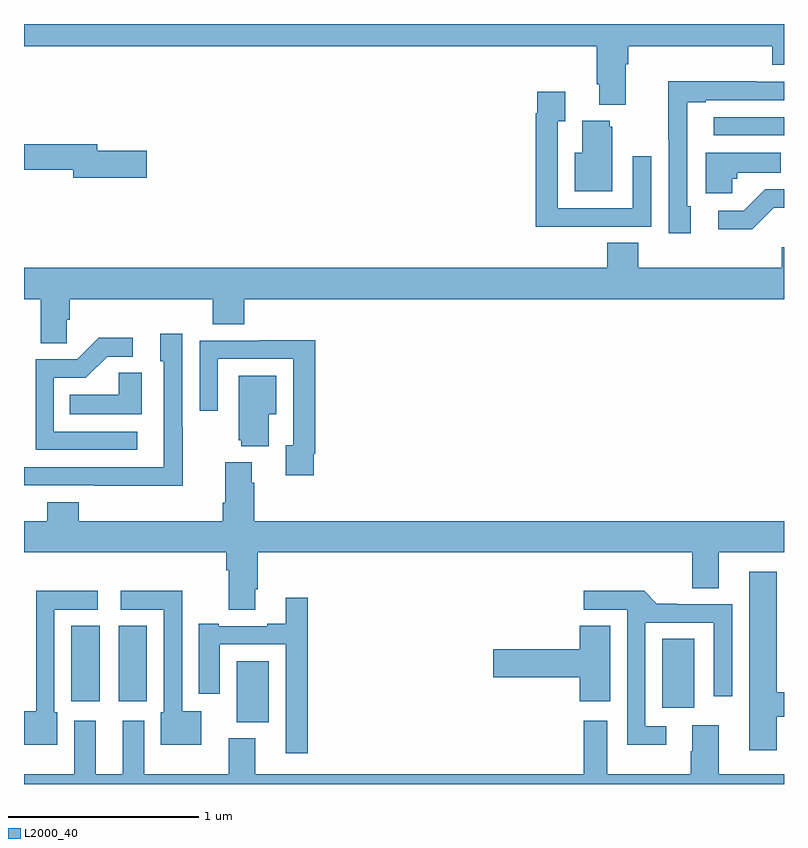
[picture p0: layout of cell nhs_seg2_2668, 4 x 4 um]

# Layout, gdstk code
import gdstk
lib = gdstk.Library(unit=1e-6, precision=1e-09)
def R(c, l, rs):  # rectangles x0, y0, x1, y1
    for r in rs: c.add(gdstk.rectangle(r[:2], r[2:], *l))
def P(c, l, *ps):  # polygons
    for p in ps: c.add(gdstk.Polygon(p, *l))
L2000_40 = (2000, 40)

nhs_seg2_2668 = lib.new_cell('nhs_seg2_2668')
R(nhs_seg2_2668, L2000_40, [(252.119,596.126,252.289,596.446), (254.36,596.202,254.527,596.564), (251.249,596.235,251.398,596.633), (251.498,596.235,251.647,596.633), (254.631,599.214,255,599.31)])
P(nhs_seg2_2668, L2000_40, [(254.167,599.588),(254.18,599.588),(254.18,599.684),(254.939,599.684),(254.939,599.585),(255,599.585),(255,599.8),(251,599.8),(251,599.684),(254.015,599.684),(254.015,599.482),(254.027,599.482),(254.027,599.375),(254.167,599.375)],
  [(254.509,598.842),(254.49,598.842),(254.49,599.388),(254.587,599.388),(254.587,599.4),(255,599.4),(255,599.496),(254.855,599.496),(254.855,599.498),(254.392,599.498),(254.392,599.191),(254.394,599.191),(254.394,598.698),(254.509,598.698)],
  [(253.985,598.734),(254.301,598.734),(254.301,599.104),(254.205,599.104),(254.205,598.83),(253.809,598.83),(253.809,599.287),(253.849,599.287),(253.849,599.443),(253.701,599.443),(253.701,599.33),(253.693,599.33),(253.693,598.733),(253.985,598.733)],
  [(254.095,599.259),(254.084,599.259),(254.084,599.29),(253.937,599.29),(253.937,599.122),(253.898,599.122),(253.898,598.919),(254.095,598.919)],
  [(251.647,599.132),(251.386,599.132),(251.386,599.168),(251,599.168),(251,599.032),(251.258,599.032),(251.258,598.99),(251.647,598.99)],
  [(254.727,598.986),(254.754,598.986),(254.754,599.018),(254.984,599.018),(254.984,599.122),(254.588,599.122),(254.588,598.91),(254.727,598.91)],
  [(254.946,598.833),(255,598.833),(255,598.929),(254.9,598.929),(254.789,598.818),(254.655,598.818),(254.655,598.721),(254.833,598.721)],
  [(251.226,598.243),(251.24,598.243),(251.24,598.352),(251.993,598.352),(251.993,598.219),(252.158,598.219),(252.158,598.352),(255,598.352),(255,598.625),(254.987,598.625),(254.987,598.516),(254.234,598.516),(254.234,598.649),(254.069,598.649),(254.069,598.516),(251,598.516),(251,598.352),(251.087,598.352),(251.087,598.12),(251.226,598.12)],
  [(251.835,597.677),(251.832,597.677),(251.832,598.171),(251.717,598.171),(251.717,598.026),(251.736,598.026),(251.736,597.468),(251,597.468),(251,597.372),(251.371,597.372),(251.371,597.371),(251.835,597.371)],
  [(251.596,597.654),(251.157,597.654),(251.157,597.939),(251.326,597.939),(251.437,598.05),(251.572,598.05),(251.572,598.148),(251.393,598.148),(251.28,598.035),(251.061,598.035),(251.061,597.558),(251.596,597.558)],
  [(252.526,597.538),(252.533,597.538),(252.533,598.136),(252.241,598.136),(252.241,598.134),(251.925,598.134),(251.925,597.765),(252.021,597.765),(252.021,598.038),(252.417,598.038),(252.417,597.582),(252.377,597.582),(252.377,597.426),(252.526,597.426)],
  [(251.62,597.965),(251.499,597.965),(251.499,597.85),(251.242,597.85),(251.242,597.746),(251.62,597.746)],
  [(252.289,597.746),(252.328,597.746),(252.328,597.949),(252.131,597.949),(252.131,597.609),(252.143,597.609),(252.143,597.578),(252.289,597.578)],
  [(252.217,596.824),(252.23,596.824),(252.23,597.02),(254.516,597.02),(254.516,596.83),(254.656,596.83),(254.656,597.02),(255,597.02),(255,597.184),(252.212,597.184),(252.212,597.386),(252.199,597.386),(252.199,597.493),(252.059,597.493),(252.059,597.28),(252.047,597.28),(252.047,597.184),(251.288,597.184),(251.288,597.283),(251.123,597.283),(251.123,597.184),(251,597.184),(251,597.02),(252.065,597.02),(252.065,596.924),(252.077,596.924),(252.077,596.716),(252.217,596.716)],
  [(254.963,596.154),(255,596.154),(255,596.282),(254.963,596.282),(254.963,596.917),(254.816,596.917),(254.816,595.977),(254.963,595.977)],
  [(251.176,596.178),(251.16,596.178),(251.16,596.718),(251.389,596.718),(251.389,596.816),(251.064,596.816),(251.064,596.182),(251,596.182),(251,596.006),(251.176,596.006)],
  [(251.932,596.182),(251.832,596.182),(251.832,596.816),(251.508,596.816),(251.508,596.718),(251.736,596.718),(251.736,596.178),(251.72,596.178),(251.72,596.006),(251.932,596.006)],
  [(254.38,596.103),(254.271,596.103),(254.271,596.649),(254.631,596.649),(254.631,596.262),(254.727,596.262),(254.727,596.745),(254.437,596.745),(254.437,596.75),(254.329,596.75),(254.264,596.816),(253.947,596.816),(253.947,596.718),(254.175,596.718),(254.175,596.006),(254.38,596.006)],
  [(252.494,596.779),(252.377,596.779),(252.377,596.644),(252.281,596.644),(252.281,596.631),(252.025,596.631),(252.025,596.644),(251.921,596.644),(251.921,596.274),(252.031,596.274),(252.031,596.535),(252.378,596.535),(252.378,595.962),(252.494,595.962)],
  [(254.086,596.633),(253.925,596.633),(253.925,596.51),(253.47,596.51),(253.47,596.363),(253.925,596.363),(253.925,596.235),(254.086,596.235)],
  [(255,595.852),(254.656,595.852),(254.656,596.11),(254.516,596.11),(254.516,595.973),(254.509,595.973),(254.509,595.852),(254.071,595.852),(254.071,596.134),(253.946,596.134),(253.946,595.852),(252.217,595.852),(252.217,596.041),(252.077,596.041),(252.077,595.852),(251.632,595.852),(251.632,596.134),(251.519,596.134),(251.519,595.852),(251.377,595.852),(251.377,596.134),(251.264,596.134),(251.264,595.852),(251,595.852),(251,595.8),(255,595.8)])

lib.write_gds('nhs_seg2_2668.gds')
